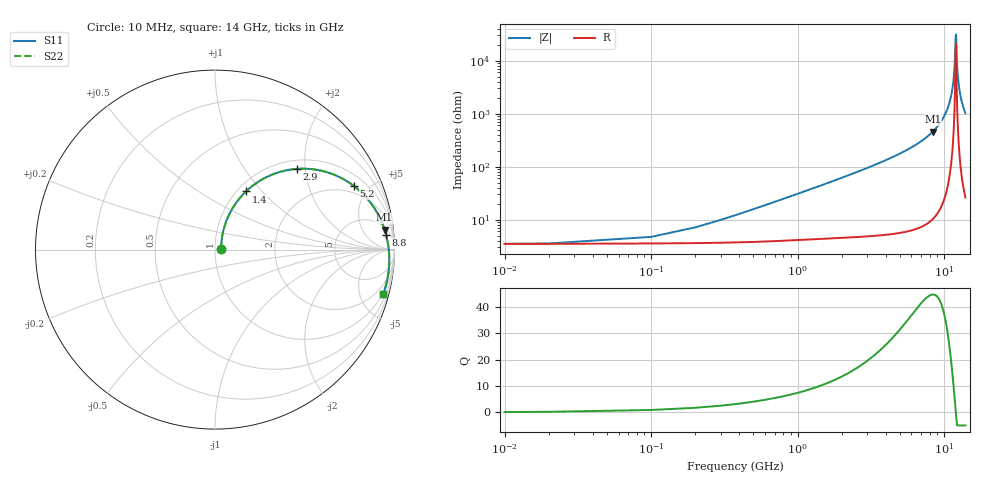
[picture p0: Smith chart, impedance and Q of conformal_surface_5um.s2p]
! Created with skrf 1.12.0 (http://scikit-rf.org).
# GHz S DB R 50.0
!freq dBS11 angS11 dBS21 angS21 dBS12 angS12 dBS22 angS22
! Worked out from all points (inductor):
!   142 points, 10 MHz to 14 GHz, reference 50 ohm
!   read as one part in series: L = 4.86 nH near 400 MHz
!   highest Q = 44.7 at 8.4 GHz (marker M1), where L = 8.73 nH
!   self-resonance near 12 GHz
!   S11 on the Smith chart (normalised r, x): 10 MHz: 1.07, +0.01; 1.4 GHz: 1.10, +0.82; 2.9 GHz: 1.18, +1.81; 5.2 GHz: 1.56, +4.00; 8.8 GHz: 10, +19; 14 GHz: 0.93, -7.62
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0.01  -29.43 4.9  -0.30 -0.2  -0.30 -0.2  -29.43 4.9
0.5  -16.93 67.9  -0.44 -8.9  -0.44 -8.9  -16.93 67.9
1.4  -8.70 61.9  -1.08 -23.2  -1.08 -23.2  -8.70 61.9
2.4  -4.97 50.1  -2.21 -36.9  -2.21 -36.9  -4.97 50.1
2.9  -3.87 44.6  -2.90 -42.9  -2.90 -42.9  -3.87 44.6
4.7  -1.72 28.3  -5.78 -60.0  -5.78 -60.0  -1.73 28.3
5.2  -1.40 24.7  -6.67 -63.8  -6.67 -63.8  -1.40 24.7
7.1  -0.68 13.1  -10.44 -75.7  -10.44 -75.7  -0.68 13.1
8.4  -0.43 6.7  -13.63 -82.1  -13.63 -82.1  -0.43 6.7
8.8  -0.38 4.9  -14.78 -83.9  -14.78 -83.9  -0.38 4.9
9.4  -0.32 2.3  -16.76 -86.4  -16.76 -86.4  -0.32 2.3
10.9  -0.24 -3.7  -24.45 -91.4  -24.45 -91.4  -0.24 -3.7
11.4  -0.23 -5.6  -29.50 -91.7  -29.50 -91.7  -0.23 -5.6
11.7  -0.22 -6.7  -34.86 -89.8  -34.86 -89.8  -0.22 -6.7
11.9  -0.22 -7.4  -41.88 -82.1  -41.88 -82.1  -0.22 -7.4
12  -0.22 -7.8  -49.26 -60.0  -49.26 -60.0  -0.22 -7.8
12.1  -0.22 -8.1  -50.16 39.5  -50.16 39.5  -0.22 -8.1
12.2  -0.22 -8.5  -42.41 65.6  -42.41 65.6  -0.22 -8.5
12.3  -0.22 -8.8  -38.12 71.6  -38.12 71.6  -0.22 -8.9
12.6  -0.23 -9.9  -31.35 75.8  -31.35 75.8  -0.23 -9.9
13.2  -0.24 -12.0  -25.05 75.9  -25.05 75.9  -0.24 -12.0
14  -0.27 -14.7  -20.60 74.0  -20.60 74.0  -0.27 -14.8
